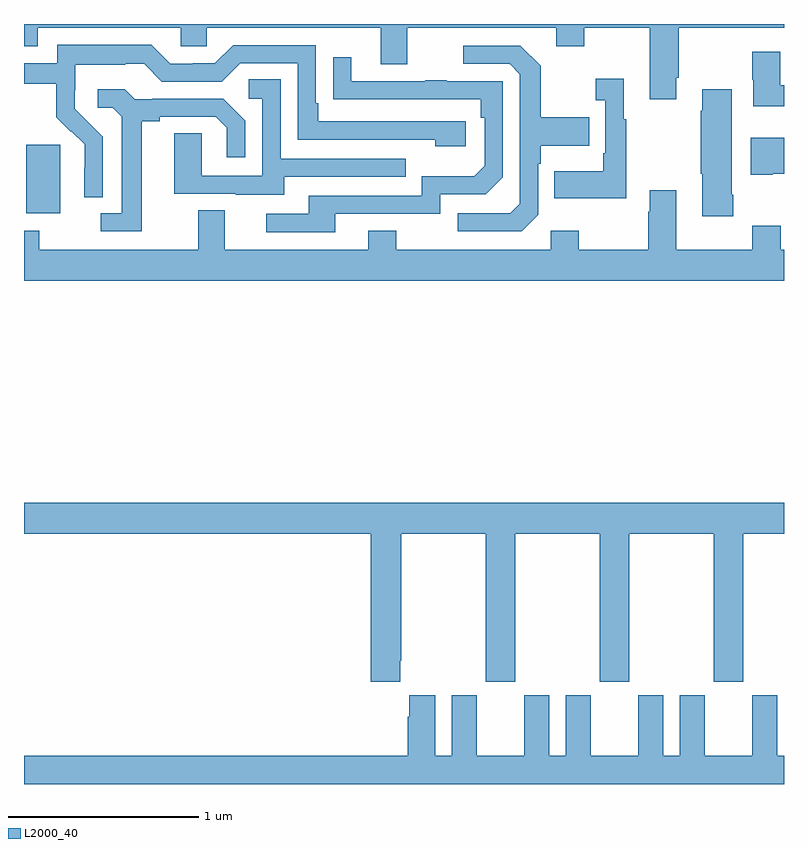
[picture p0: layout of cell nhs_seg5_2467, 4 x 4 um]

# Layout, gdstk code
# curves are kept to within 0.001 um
import gdstk
lib = gdstk.Library(unit=1e-6, precision=1e-09)
def R(c, l, rs):  # rectangles x0, y0, x1, y1
    for r in rs: c.add(gdstk.rectangle(r[:2], r[2:], *l))
def P(c, l, *ps):  # polygons
    for p in ps: c.add(gdstk.Polygon(p, *l))
L2000_40 = (2000, 40)

nhs_seg5_2467 = lib.new_cell('nhs_seg5_2467')
R(nhs_seg5_2467, L2000_40, [(255.011,835.802,255.19,836.163)])
P(nhs_seg5_2467, L2000_40, [(258.433,836.515),(258.446,836.515),(258.446,836.78),(259,836.78),(259,836.799),(255,836.799),(255,836.681),(255.073,836.681),(255.073,836.78),(255.825,836.78),(255.825,836.682),(255.963,836.682),(255.963,836.78),(256.877,836.78),(256.877,836.586),(257.017,836.586),(257.017,836.78),(257.801,836.78),(257.801,836.681),(257.949,836.681),(257.949,836.78),(258.293,836.78),(258.293,836.403),(258.433,836.403)],
  [(255.414,836.206),(255.268,836.354),(255.268,836.451),(255.27,836.451),(255.27,836.585),(255.533,836.585),(255.533,836.589),(255.633,836.589),(255.726,836.496),(256.041,836.496),(256.137,836.592),(256.44,836.592),(256.44,836.19),(257.165,836.19),(257.165,836.156),(257.326,836.156),(257.326,836.286),(256.549,836.286),(256.549,836.383),(256.536,836.383),(256.536,836.688),(256.101,836.688),(256.005,836.592),(255.887,836.592),(255.887,836.589),(255.771,836.589),(255.671,836.689),(255.174,836.689),(255.174,836.592),(255,836.592),(255,836.484),(255.169,836.484),(255.169,836.309),(255.246,836.232),(255.249,836.235),(255.32,836.165),(255.32,836.042),(255.318,836.042),(255.318,835.888),(255.414,835.888)],
  [(257.706,835.794),(257.706,836.063),(257.719,836.063),(257.719,836.159),(257.975,836.159),(257.975,836.307),(257.719,836.307),(257.719,836.579),(257.613,836.685),(257.313,836.685),(257.313,836.589),(257.556,836.589),(257.61,836.535),(257.61,835.854),(257.559,835.803),(257.283,835.803),(257.283,835.707),(257.619,835.707)],
  [(259,836.476),(258.979,836.476),(258.979,836.653),(258.832,836.653),(258.832,836.505),(258.839,836.505),(258.839,836.366),(259,836.366)],
  [(256.639,835.8),(257.19,835.8),(257.19,835.902),(257.43,835.902),(257.52,835.992),(257.52,836.499),(257.225,836.499),(257.225,836.504),(257.113,836.504),(257.113,836.499),(256.723,836.499),(256.723,836.623),(256.627,836.623),(256.627,836.404),(257.404,836.403),(257.404,836.306),(257.424,836.306),(257.424,836.052),(257.371,835.999),(257.094,835.999),(257.094,835.896),(256.499,835.896),(256.499,835.8),(256.275,835.8),(256.275,835.704),(256.639,835.704)],
  [(258.169,836.299),(258.157,836.299),(258.157,836.512),(258.009,836.512),(258.009,836.399),(258.06,836.399),(258.06,836.119),(258.048,836.119),(258.048,836.023),(257.791,836.023),(257.791,835.883),(258.169,835.883)],
  [(256.369,835.995),(257.009,835.995),(257.009,836.091),(256.35,836.091),(256.35,836.507),(256.182,836.507),(256.182,836.406),(256.254,836.406),(256.254,836.001),(255.936,836.001),(255.936,836.225),(255.791,836.225),(255.791,835.905),(256.115,835.905),(256.115,835.901),(256.369,835.901)],
  [(255.619,836.288),(255.715,836.288),(255.715,836.31),(256.01,836.31),(256.067,836.253),(256.067,836.097),(256.164,836.097),(256.164,836.29),(256.048,836.406),(255.676,836.406),(255.676,836.403),(255.582,836.403),(255.53,836.455),(255.387,836.455),(255.387,836.358),(255.468,836.358),(255.515,836.311),(255.515,835.803),(255.405,835.803),(255.405,835.707),(255.619,835.707)],
  [(258.732,835.9),(258.724,835.9),(258.724,836.455),(258.569,836.455),(258.569,836.342),(258.562,836.342),(258.562,836.011),(258.569,836.011),(258.569,835.788),(258.732,835.788)],
  [(258.942,836.012),(259,836.012),(259,836.2),(258.824,836.2),(258.824,836.006),(258.942,836.006)],
  [(258.293,835.924),(258.293,835.811),(258.286,835.811),(258.286,835.612),(257.919,835.612),(257.919,835.711),(257.772,835.711),(257.772,835.612),(256.959,835.612),(256.959,835.711),(256.811,835.711),(256.811,835.612),(256.057,835.612),(256.057,835.82),(255.917,835.82),(255.917,835.612),(255.081,835.612),(255.081,835.711),(255,835.711),(255,835.448),(259,835.448),(259,835.612),(258.983,835.612),(258.983,835.736),(258.832,835.736),(258.832,835.612),(258.433,835.612),(258.433,835.924)],
  [(256.981,833.449),(256.986,833.449),(256.986,834.116),(257.431,834.116),(257.431,833.337),(257.586,833.337),(257.586,834.116),(258.031,834.116),(258.031,833.337),(258.186,833.337),(258.186,834.116),(258.631,834.116),(258.631,833.337),(258.786,833.337),(258.786,834.116),(259,834.116),(259,834.28),(255,834.28),(255,834.116),(256.826,834.116),(256.826,833.337),(256.981,833.337)],
  [(259,832.948),(258.964,832.948),(258.964,833.266),(258.833,833.266),(258.833,832.948),(258.583,832.948),(258.583,833.266),(258.452,833.266),(258.452,832.948),(258.364,832.948),(258.364,833.266),(258.233,833.266),(258.233,832.948),(257.983,832.948),(257.983,833.266),(257.852,833.266),(257.852,832.948),(257.764,832.948),(257.764,833.266),(257.633,833.266),(257.633,832.948),(257.383,832.948),(257.383,833.266),(257.252,833.266),(257.252,832.948),(257.164,832.948),(257.164,833.266),(257.027,833.266),(257.027,833.153),(257.021,833.153),(257.021,832.948),(255,832.948),(255,832.799),(259,832.799)])

lib.write_gds('nhs_seg5_2467.gds')
